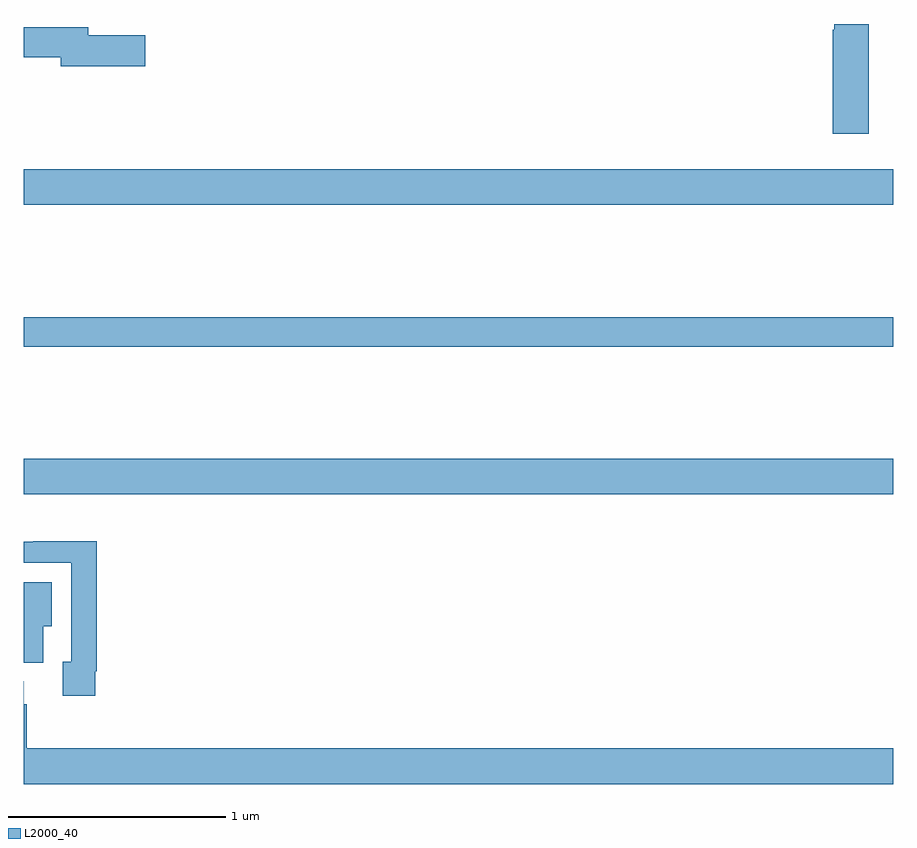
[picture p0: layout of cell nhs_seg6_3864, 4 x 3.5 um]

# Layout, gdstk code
import gdstk
lib = gdstk.Library(unit=1e-6, precision=1e-09)
def R(c, l, rs):  # rectangles x0, y0, x1, y1
    for r in rs: c.add(gdstk.rectangle(r[:2], r[2:], *l))
def P(c, l, *ps):  # polygons
    for p in ps: c.add(gdstk.Polygon(p, *l))
L2000_40 = (2000, 40)

nhs_seg6_3864 = lib.new_cell('nhs_seg6_3864')
R(nhs_seg6_3864, L2000_40, [(339,947.336,343,947.5), (339,948.016,343,948.152), (339,948.668,343,948.832)])
P(nhs_seg6_3864, L2000_40, [(342.886,949.5),(342.728,949.5),(342.728,949.473),(342.722,949.473),(342.722,948.996),(342.886,948.996)],
  [(339.559,949.448),(339.298,949.448),(339.298,949.484),(339,949.484),(339,949.348),(339.17,949.348),(339.17,949.306),(339.559,949.306)],
  [(339.328,946.522),(339.335,946.522),(339.335,947.12),(339.043,947.12),(339.043,947.118),(339,947.118),(339,947.022),(339.219,947.022),(339.219,946.566),(339.179,946.566),(339.179,946.41),(339.328,946.41)],
  [(339.091,946.73),(339.13,946.73),(339.13,946.933),(339,946.933),(339,946.562),(339.091,946.562)],
  [(343,946.168),(339.014,946.168),(339.014,946.37),(339.001,946.37),(339.001,946.477),(339,946.477),(339,946.004),(343,946.004)])

lib.write_gds('nhs_seg6_3864.gds')
